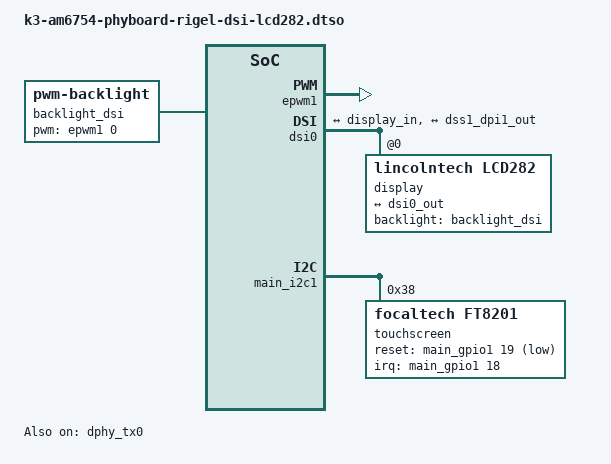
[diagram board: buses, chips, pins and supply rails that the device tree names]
// SPDX-License-Identifier: GPL-2.0 or MIT
/*
 * Copyright (C) 2025 PHYTEC America LLC
 * Author: Nathan Morrisson <nmorrisson@phytec.com>
 */

/dts-v1/;
/plugin/;

#include <dt-bindings/gpio/gpio.h>
#include <dt-bindings/interrupt-controller/irq.h>

#include "k3-pinctrl.h"

&{/} {
	backlight_dsi: backlight {
		compatible = "pwm-backlight";
		brightness-levels = <0 8 16 32 64 128 255>;
		default-brightness-level = <6>;
		pinctrl-names = "default";
		pinctrl-0 = <&bl_pwm_pins_default>;
		pwms = <&epwm1 0 50000 0>;
	};
};

&epwm1 {
	status = "okay";
};

&main_pmx0 {
	bl_pwm_pins_default: bl-pwm-pins-default {
		pinctrl-single,pins = <
			J722S_IOPAD(0x1bc, PIN_INPUT, 2)	/* (D20) SPI0_CLK.EHRPWM1_A */
		>;
	};

	touch_screen_pins_default: touch-screen-pins-default {
		pinctrl-single,pins = <
			J722S_IOPAD(0x1c0, PIN_INPUT, 7)	/* (E19) SPI0_D0.GPIO1_18 */
			J722S_IOPAD(0x1c4, PIN_INPUT, 7)	/* (E20) SPI0_D1.GPIO1_19 */
		>;
	};
};

&dphy_tx0 {
	status = "okay";
};

&dsi0 {
	#address-cells = <1>;
	#size-cells = <0>;
	status = "okay";

	ports {
		#address-cells = <1>;
		#size-cells = <0>;

		port@0 {
			reg = <0>;

			dsi0_out: endpoint {
				remote-endpoint = <&display_in>;
			};
		};

		port@1 {
			reg = <1>;

			dsi0_in: endpoint {
				remote-endpoint = <&dss1_dpi1_out>;
			};
		};
	};

	display: panel@0 {
		compatible = "lincolntech,lcd282";
		reg = <0>;

		backlight = <&backlight_dsi>;
		dsi-lanes = <4>;
		panel-bpc = <8>;

		port {
			display_in: endpoint {
				remote-endpoint = <&dsi0_out>;
			};
		};
	};
};

&dss1_ports {
	#address-cells = <1>;
	#size-cells = <0>;

	/* DSS1-VP1: DSI Output */
	port@1 {
		reg = <1>;

		dss1_dpi1_out: endpoint {
			remote-endpoint = <&dsi0_in>;
		};
	};
};

&main_i2c1 {
	#address-cells = <1>;
	#size-cells = <0>;

	touchscreen@38 {
		compatible = "focaltech,ft8201";
		reg = <0x38>;

		pinctrl-names = "default";
		pinctrl-0 = <&touch_screen_pins_default>;

		interrupt-parent = <&main_gpio1>;
		interrupts = <18 IRQ_TYPE_EDGE_FALLING>;

		touchscreen-size-x = <1200>;
		touchscreen-size-y = <1920>;
		touchscreen-inverted-x;
		touchscreen-inverted-y;

		reset-gpios = <&main_gpio1 19 GPIO_ACTIVE_LOW>;
	};
};
